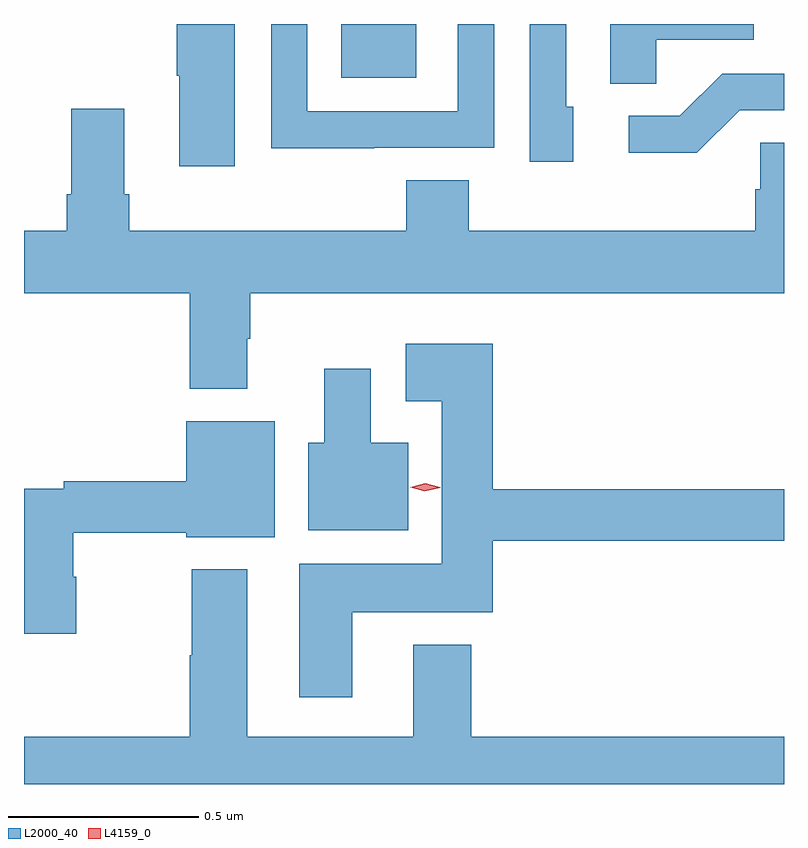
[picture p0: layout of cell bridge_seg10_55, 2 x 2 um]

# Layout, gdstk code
import gdstk
lib = gdstk.Library(unit=1e-6, precision=1e-09)
def R(c, l, rs):  # rectangles x0, y0, x1, y1
    for r in rs: c.add(gdstk.rectangle(r[:2], r[2:], *l))
def P(c, l, *ps):  # polygons
    for p in ps: c.add(gdstk.Polygon(p, *l))
L2000_40 = (2000, 40)
L4159_0 = (4159, 0)

bridge_seg10_55 = lib.new_cell('bridge_seg10_55')
R(bridge_seg10_55, L2000_40, [(863.288,1264.919,863.485,1265.06)])
P(bridge_seg10_55, L2000_40, [(863.008,1265.06),(862.855,1265.06),(862.855,1264.924),(862.862,1264.924),(862.862,1264.686),(863.008,1264.686)],
  [(863.899,1264.842),(863.88,1264.842),(863.88,1265.06),(863.784,1265.06),(863.784,1264.698),(863.899,1264.698)],
  [(863.375,1264.734),(863.691,1264.734),(863.691,1265.06),(863.595,1265.06),(863.595,1264.83),(863.199,1264.83),(863.199,1265.06),(863.103,1265.06),(863.103,1264.733),(863.375,1264.733)],
  [(864.117,1265.018),(864.374,1265.018),(864.374,1265.06),(863.996,1265.06),(863.996,1264.903),(864.117,1264.903)],
  [(864.336,1264.833),(864.453,1264.833),(864.453,1264.929),(864.29,1264.929),(864.179,1264.818),(864.045,1264.818),(864.045,1264.721),(864.223,1264.721)],
  [(863.041,1264.232),(863.049,1264.232),(863.049,1264.352),(864.453,1264.352),(864.453,1264.748),(864.39,1264.748),(864.39,1264.625),(864.377,1264.625),(864.377,1264.516),(863.624,1264.516),(863.624,1264.649),(863.459,1264.649),(863.459,1264.516),(862.73,1264.516),(862.73,1264.612),(862.717,1264.612),(862.717,1264.837),(862.577,1264.837),(862.577,1264.612),(862.565,1264.612),(862.565,1264.516),(862.453,1264.516),(862.453,1264.352),(862.889,1264.352),(862.889,1264.1),(863.041,1264.1)],
  [(863.317,1263.512),(863.687,1263.512),(863.687,1263.7),(864.453,1263.7),(864.453,1263.836),(863.687,1263.836),(863.687,1264.219),(863.457,1264.219),(863.457,1264.067),(863.552,1264.067),(863.552,1263.64),(863.177,1263.64),(863.177,1263.288),(863.317,1263.288)],
  [(863.464,1263.958),(863.365,1263.958),(863.365,1264.153),(863.243,1264.153),(863.243,1263.958),(863.201,1263.958),(863.201,1263.728),(863.464,1263.728)],
  [(862.59,1263.606),(862.582,1263.606),(862.582,1263.721),(862.88,1263.721),(862.88,1263.71),(863.113,1263.71),(863.113,1264.015),(862.88,1264.015),(862.88,1263.857),(862.558,1263.857),(862.558,1263.837),(862.453,1263.837),(862.453,1263.456),(862.59,1263.456)],
  [(864.453,1263.184),(863.63,1263.184),(863.63,1263.427),(863.477,1263.427),(863.477,1263.184),(863.041,1263.184),(863.041,1263.625),(862.894,1263.625),(862.894,1263.399),(862.889,1263.399),(862.889,1263.184),(862.453,1263.184),(862.453,1263.06),(864.453,1263.06)])
P(bridge_seg10_55, L4159_0, [(863.508,1263.831),(863.469,1263.841),(863.469,1263.841),(863.469,1263.841),(863.509,1263.851),(863.548,1263.841),(863.548,1263.84),(863.548,1263.84)])

lib.write_gds('bridge_seg10_55.gds')
